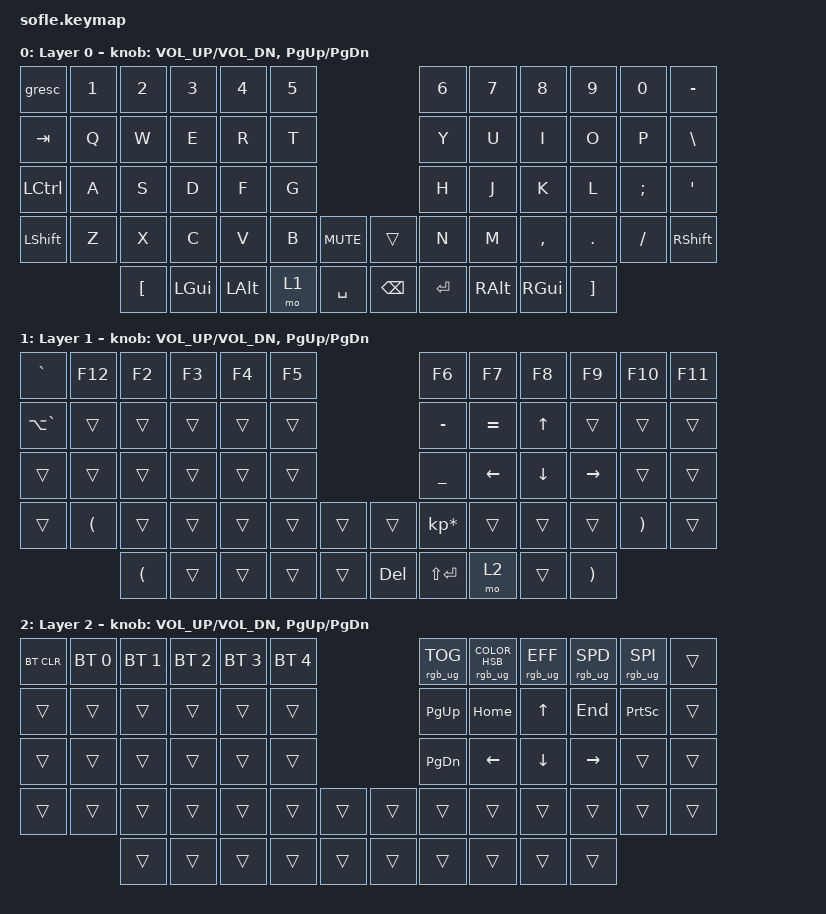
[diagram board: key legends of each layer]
/*
 * Copyright (c) 2020 The ZMK Contributors
 *
 * SPDX-License-Identifier: MIT
 */

#include <behaviors.dtsi>
#include <dt-bindings/zmk/bt.h>
#include <dt-bindings/zmk/keys.h>
#include <dt-bindings/zmk/rgb.h>

&nice_view_spi { cs-gpios = <&pro_micro 0 GPIO_ACTIVE_HIGH>; };

/ {
    keymap {
        compatible = "zmk,keymap";

        default_layer {
            display-name = "Layer 0";

            // ------------------------------------------------------------------------------------------------------------
            // | GESC  |  1  |  2  |  3   |  4   |  5   |                   |  6   |  7    |  8    |  9   |   0   | MINUS |
            // |  TAB  |  Q  |  W  |  E   |  R   |  T   |                   |  Y   |  U    |  I    |  O   |   P   |   \   |
            // | LCTRL |  A  |  S  |  D   |  F   |  G   |                   |  H   |  J    |  K    |  L   |   ;   |   '   |
            // | SHIFT |  Z  |  X  |  C   |  V   |  B   |  MUTE  |  | USER  |  N   |  M    |  ,    |  .   |   /   | SHIFT |
            //               |  [  | GUI  | ALT  | MO(1)|  SPACE |  | BKSPC | ENTER| RALT  | RGUI  |   ]  |

            bindings = <
&gresc     &kp N1  &kp N2    &kp N3    &kp N4    &kp N5                          &kp N6   &kp N7    &kp N8     &kp N9    &kp N0    &kp MINUS
&kp TAB    &kp Q   &kp W     &kp E     &kp R     &kp T                           &kp Y    &kp U     &kp I      &kp O     &kp P     &kp BSLH
&kp LCTRL  &kp A   &kp S     &kp D     &kp F     &kp G                           &kp H    &kp J     &kp K      &kp L     &kp SEMI  &kp SQT
&kp LSHFT  &kp Z   &kp X     &kp C     &kp V     &kp B   &kp C_MUTE    &trans    &kp N    &kp M     &kp COMMA  &kp DOT   &kp FSLH  &kp RSHFT
                   &kp LBKT  &kp LGUI  &kp LALT  &mo 1   &kp SPACE     &kp BSPC  &kp RET  &kp RALT  &kp RGUI   &kp RBKT
            >;

            sensor-bindings =
                <&inc_dec_kp C_VOL_UP C_VOL_DN>,
                <&inc_dec_kp PAGE_UP PAGE_DOWN>;
        };

        lower_layer {
            display-name = "Layer 1";

            // ------------------------------------------------------------------------------------------------------------
            // |  F12  |  F1 |  F2 |  F3  |  F4  |  F5  |                   |  F6  |  F7   |  F8   |  F9  |  F10  |  F11  |
            // |   `   |     |     |      |      |      |                   |  -   |   =   |  UP   |      |       |       |
            // |       |     |     |      |      |      |                   |  _   | LEFT  | DOWN  | RIGHT|       |       |
            // |       |  (  |     |      |      |      |        |  |       |  *   |       |       |      |   )   |       |
            //               |  (  |      |      |      | S-ENTR |  |  DEL  | SHFT |       |       |   )  |

            bindings = <
&kp GRAVE      &kp F12   &kp F2    &kp F3  &kp F4  &kp F5                     &kp F6           &kp F7     &kp F8    &kp F9     &kp F10   &kp F11
&kp LA(GRAVE)  &trans    &trans    &trans  &trans  &trans                     &kp MINUS        &kp EQUAL  &kp UP    &trans     &trans    &trans
&trans         &trans    &trans    &trans  &trans  &trans                     &kp UNDER        &kp LEFT   &kp DOWN  &kp RIGHT  &trans    &trans
&trans         &kp LPAR  &trans    &trans  &trans  &trans  &trans    &trans   &kp KP_MULTIPLY  &trans     &trans    &trans     &kp RPAR  &trans
                         &kp LPAR  &trans  &trans  &trans  &trans    &kp DEL  &kp LS(RET)      &mo 2      &trans    &kp RPAR
            >;

            sensor-bindings =
                <&inc_dec_kp C_VOL_UP C_VOL_DN>,
                <&inc_dec_kp PAGE_UP PAGE_DOWN>;
        };

        raise_layer {
            display-name = "Layer 2";

            // ------------------------------------------------------------------------------------------------------------
            // |BTCLR| BT1  | BT2  |  BT3  |  BT4  |  BT5 |                |      |      |       |      |       |       |
            // |     |      |      |       |       |      |                | PGUP | HOME |  UP   | END  | PSCRN |       |
            // |     |      |      |       |       |      |                | PGDN | LEFT | DOWN  | RIGHT|  INS  |       |
            // |     |      |      |       |       |      |      |  |      |      |      |       |      |       |       |
            //              |      |       |       |      |      |  |      |      |      |       |      |

            bindings = <
&bt BT_CLR  &bt BT_SEL 0  &bt BT_SEL 1  &bt BT_SEL 2  &bt BT_SEL 3  &bt BT_SEL 4                    &rgb_ug RGB_TOG  &rgb_ug RGB_COLOR_HSB(0,100,38)  &rgb_ug RGB_EFF  &rgb_ug RGB_SPD  &rgb_ug RGB_SPI  &trans
&trans      &trans        &trans        &trans        &trans        &trans                          &kp PG_UP        &kp HOME                         &kp UP           &kp END          &kp PSCRN        &trans
&trans      &trans        &trans        &trans        &trans        &trans                          &kp PG_DN        &kp LEFT                         &kp DOWN         &kp RIGHT        &trans           &trans
&trans      &trans        &trans        &trans        &trans        &trans        &trans    &trans  &trans           &trans                           &trans           &trans           &trans           &trans
                          &trans        &trans        &trans        &trans        &trans    &trans  &trans           &trans                           &trans           &trans
            >;

            sensor-bindings =
                <&inc_dec_kp C_VOL_UP C_VOL_DN>,
                <&inc_dec_kp PAGE_UP PAGE_DOWN>;
        };
    };
};
